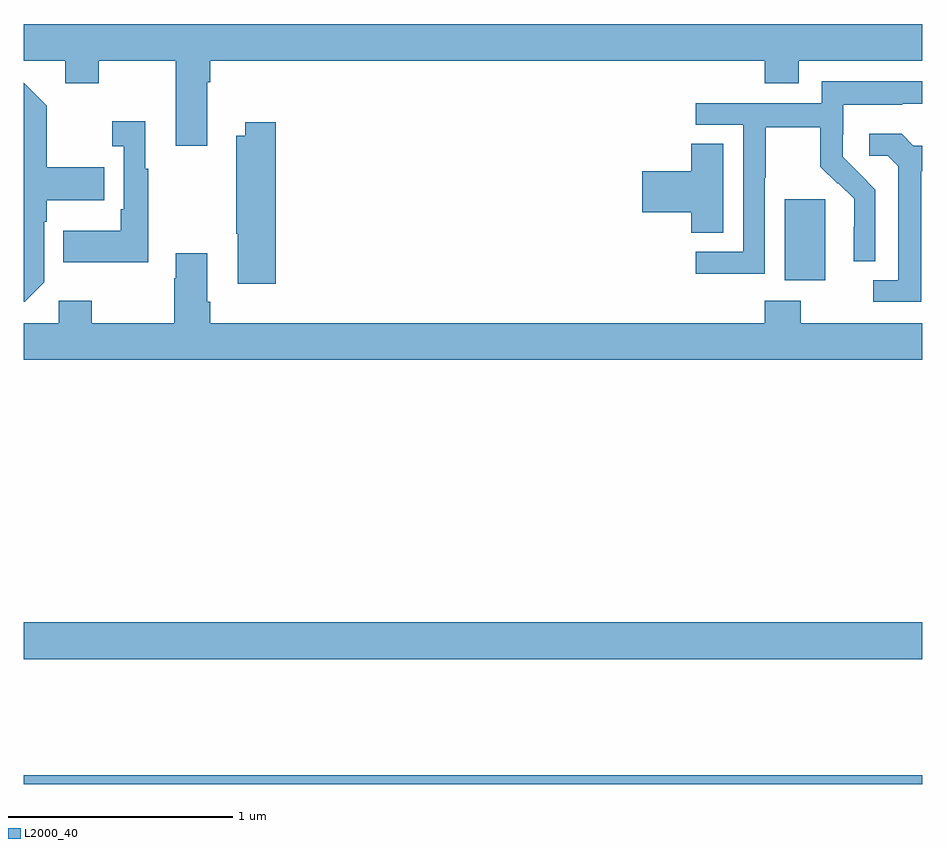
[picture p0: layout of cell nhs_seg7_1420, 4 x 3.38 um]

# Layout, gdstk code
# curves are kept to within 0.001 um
import gdstk
lib = gdstk.Library(unit=1e-6, precision=1e-09)
def R(c, l, rs):  # rectangles x0, y0, x1, y1
    for r in rs: c.add(gdstk.rectangle(r[:2], r[2:], *l))
def P(c, l, *ps):  # polygons
    for p in ps: c.add(gdstk.Polygon(p, *l))
L2000_40 = (2000, 40)

nhs_seg7_1420 = lib.new_cell('nhs_seg7_1420')
R(nhs_seg7_1420, L2000_40, [(207,1060,211,1060.04), (207,1060.556,211,1060.72), (210.389,1062.242,210.568,1062.603)])
P(nhs_seg7_1420, L2000_40, [(207.817,1063.124),(207.83,1063.124),(207.83,1063.22),(210.299,1063.22),(210.299,1063.121),(210.451,1063.121),(210.451,1063.22),(211,1063.22),(211,1063.384),(207,1063.384),(207,1063.22),(207.185,1063.22),(207.185,1063.121),(207.333,1063.121),(207.333,1063.22),(207.677,1063.22),(207.677,1062.843),(207.817,1062.843)],
  [(210.3,1062.7),(210.303,1062.7),(210.303,1062.924),(210.547,1062.924),(210.547,1062.749),(210.624,1062.672),(210.627,1062.675),(210.698,1062.605),(210.698,1062.482),(210.696,1062.482),(210.696,1062.328),(210.792,1062.328),(210.792,1062.646),(210.646,1062.794),(210.646,1062.891),(210.648,1062.891),(210.648,1063.025),(210.911,1063.025),(210.911,1063.029),(211,1063.029),(211,1063.129),(210.552,1063.129),(210.552,1063.032),(209.991,1063.032),(209.991,1062.936),(210.204,1062.936),(210.204,1062.369),(209.991,1062.369),(209.991,1062.271),(210.3,1062.271)],
  [(207.09,1062.234),(207.09,1062.503),(207.103,1062.503),(207.103,1062.599),(207.359,1062.599),(207.359,1062.747),(207.103,1062.747),(207.103,1063.019),(207,1063.122),(207,1062.147),(207.003,1062.147)],
  [(207.553,1062.739),(207.541,1062.739),(207.541,1062.952),(207.393,1062.952),(207.393,1062.839),(207.444,1062.839),(207.444,1062.559),(207.432,1062.559),(207.432,1062.463),(207.175,1062.463),(207.175,1062.323),(207.553,1062.323)],
  [(208.121,1062.946),(207.986,1062.946),(207.986,1062.886),(207.946,1062.886),(207.946,1062.451),(207.953,1062.451),(207.953,1062.228),(208.121,1062.228)],
  [(210.997,1062.728),(211,1062.728),(211,1062.843),(210.96,1062.843),(210.908,1062.895),(210.765,1062.895),(210.765,1062.798),(210.846,1062.798),(210.893,1062.751),(210.893,1062.243),(210.783,1062.243),(210.783,1062.147),(210.997,1062.147)],
  [(210.115,1062.851),(209.972,1062.851),(209.972,1062.728),(209.754,1062.728),(209.754,1062.545),(209.972,1062.545),(209.972,1062.454),(210.115,1062.454)],
  [(211,1062.052),(210.459,1062.052),(210.459,1062.151),(210.299,1062.151),(210.299,1062.052),(207.83,1062.052),(207.83,1062.148),(207.817,1062.148),(207.817,1062.364),(207.677,1062.364),(207.677,1062.251),(207.67,1062.251),(207.67,1062.052),(207.303,1062.052),(207.303,1062.151),(207.156,1062.151),(207.156,1062.052),(207,1062.052),(207,1061.888),(211,1061.888)])

lib.write_gds('nhs_seg7_1420.gds')
